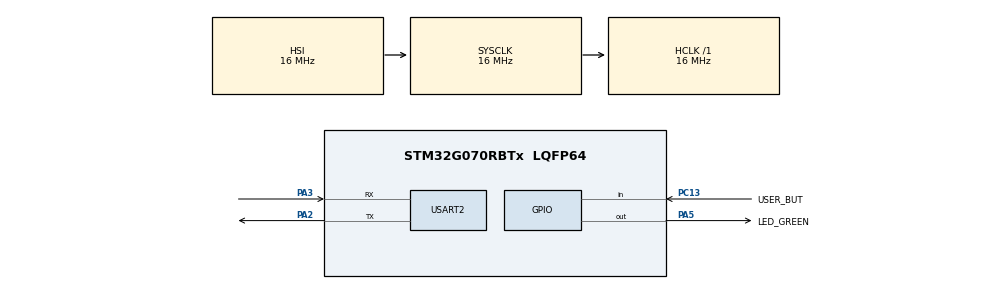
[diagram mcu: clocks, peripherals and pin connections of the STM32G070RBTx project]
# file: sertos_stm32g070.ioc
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Dma.Request0=USART2_RX
Dma.Request1=USART2_TX
Dma.USART2_RX.0.Direction=DMA_PERIPH_TO_MEMORY
Dma.USART2_RX.0.EventEnable=DISABLE
Dma.USART2_RX.0.Instance=DMA1_Channel1
Dma.USART2_RX.0.MemDataAlignment=DMA_MDATAALIGN_BYTE
Dma.USART2_RX.0.MemInc=DMA_MINC_ENABLE
Dma.USART2_RX.0.Mode=DMA_NORMAL
Dma.USART2_RX.0.PeriphDataAlignment=DMA_PDATAALIGN_BYTE
Dma.USART2_RX.0.PeriphInc=DMA_PINC_DISABLE
Dma.USART2_RX.0.Polarity=HAL_DMAMUX_REQ_GEN_RISING
Dma.USART2_RX.0.Priority=DMA_PRIORITY_LOW
Dma.USART2_RX.0.RequestNumber=1
Dma.USART2_RX.0.SignalID=NONE
Dma.USART2_RX.0.SyncEnable=DISABLE
Dma.USART2_RX.0.SyncPolarity=HAL_DMAMUX_SYNC_NO_EVENT
Dma.USART2_RX.0.SyncRequestNumber=1
Dma.USART2_RX.0.SyncSignalID=NONE
Dma.USART2_TX.1.Direction=DMA_MEMORY_TO_PERIPH
Dma.USART2_TX.1.EventEnable=DISABLE
Dma.USART2_TX.1.Instance=DMA1_Channel2
Dma.USART2_TX.1.MemDataAlignment=DMA_MDATAALIGN_BYTE
Dma.USART2_TX.1.MemInc=DMA_MINC_ENABLE
Dma.USART2_TX.1.Mode=DMA_NORMAL
Dma.USART2_TX.1.PeriphDataAlignment=DMA_PDATAALIGN_BYTE
Dma.USART2_TX.1.PeriphInc=DMA_PINC_DISABLE
Dma.USART2_TX.1.Polarity=HAL_DMAMUX_REQ_GEN_RISING
Dma.USART2_TX.1.Priority=DMA_PRIORITY_LOW
Dma.USART2_TX.1.RequestNumber=1
Dma.USART2_TX.1.SignalID=NONE
Dma.USART2_TX.1.SyncEnable=DISABLE
Dma.USART2_TX.1.SyncPolarity=HAL_DMAMUX_SYNC_NO_EVENT
Dma.USART2_TX.1.SyncRequestNumber=1
Dma.USART2_TX.1.SyncSignalID=NONE
Mcu.Family=STM32G0
Mcu.Name=STM32G070RBTx
Mcu.Package=LQFP64
NVIC.DMA1_Channel1_IRQn=true\:0\:0\:false\:false\:true\:false\:true\:true
NVIC.DMA1_Channel2_3_IRQn=true\:0\:0\:false\:false\:true\:false\:true\:true
NVIC.TIM6_IRQn=true\:3\:0\:true\:false\:true\:false\:true\:true
NVIC.TimeBase=TIM6_IRQn
NVIC.TimeBaseIP=TIM6
NVIC.USART2_IRQn=true\:0\:0\:false\:false\:true\:true\:true\:true
PA13.GPIO_Label=TMS
PA13.Signal=SYS_SWDIO
PA14-BOOT0.GPIO_Label=TCK
PA14-BOOT0.Signal=SYS_SWCLK
PA2.Mode=Asynchronous
PA2.Signal=USART2_TX
PA3.Mode=Asynchronous
PA3.Signal=USART2_RX
PA5.GPIO_Label=LED_GREEN
PA5.GPIO_Speed=GPIO_SPEED_FREQ_HIGH
PA5.Signal=GPIO_Output
PC13.GPIO_Label=USER_BUT
PC13.Signal=GPIO_Input
PC14-OSC32_IN\ (PC14).Signal=RCC_OSC32_IN
PC15-OSC32_OUT\ (PC15).Signal=RCC_OSC32_OUT
PF0-OSC_IN\ (PF0).GPIO_Label=MCO
PF0-OSC_IN\ (PF0).Signal=RCC_OSC_IN
ProjectManager.HeapSize=0x200
ProjectManager.StackSize=0x400
ProjectManager.TargetToolchain=CMake
RCC.AHBFreq_Value=16000000
RCC.CortexFreq_Value=16000000
RCC.EXTERNAL_CLOCK_VALUE=12288000
RCC.HCLKFreq_Value=16000000
RCC.HSE_VALUE=8000000
RCC.HSI_VALUE=16000000
RCC.LSE_VALUE=32768
RCC.SYSCLKFreq_VALUE=16000000
RCC.VCOOutputFreq_Value=128000000
TIM1.TIM_MasterOutputTrigger=TIM_TRGO_UPDATE
TIM1.TIM_MasterSlaveMode=TIM_MASTERSLAVEMODE_DISABLE
TIM3.TIM_MasterSlaveMode=TIM_MASTERSLAVEMODE_DISABLE
USART2.VirtualMode-Asynchronous=VM_ASYNC
VP_SYS_VS_tim6.Mode=TIM6
VP_TIM1_VS_ClockSourceINT.Mode=Internal
VP_TIM3_VS_ClockSourceITR.Mode=TriggerSource_ITR0
VP_TIM3_VS_ControllerModeClock.Mode=Clock Mode
board=NUCLEO-G070RB

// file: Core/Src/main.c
/* USER CODE BEGIN Header */
/**
  ******************************************************************************
  * @file           : main.c
  * @brief          : Main program body
  ******************************************************************************
  * @attention
  *
  * Copyright (c) 2026 STMicroelectronics.
  * All rights reserved.
  *
  * This software is licensed under terms that can be found in the LICENSE file
  * in the root directory of this software component.
  * If no LICENSE file comes with this software, it is provided AS-IS.
  *
  ******************************************************************************
  */
/* USER CODE END Header */
#include "main.h"
#include "dma.h"
#include "tim.h"
#include "usart.h"
#include "gpio.h"

/* USER CODE BEGIN Includes */
#include <stdint.h>

#include "sertos.h"
#include "sertos_demo_queue.h"
#include "sertos_task_consumer.h"
#include "sertos_task_profiler.h"
#include "sertos_task_producer.h"
#include "profiler.h"
#include "profiler_port.h"
#include "profiler_context_sertos.h"
/* USER CODE END Includes */

/* USER CODE BEGIN PD */
#if defined(SERTOS_APP_INSTRUMENTED) || defined(PROFILER_SCOPES_ENABLED)
#define SERTOS_DEMO_STACK_BYTES (1024U)
#else
#define SERTOS_DEMO_STACK_BYTES (256U)
#endif
#define SERTOS_PROF_STACK_BYTES (2048U)
/* USER CODE END PD */

/* USER CODE BEGIN PV */
static uint8_t s_producer_stack[SERTOS_DEMO_STACK_BYTES]
    __attribute__((aligned(SERTOS_STACK_ALIGNMENT_BYTES)));
static uint8_t s_consumer_stack[SERTOS_DEMO_STACK_BYTES]
    __attribute__((aligned(SERTOS_STACK_ALIGNMENT_BYTES)));
static uint8_t s_profiler_stack[SERTOS_PROF_STACK_BYTES]
    __attribute__((aligned(SERTOS_STACK_ALIGNMENT_BYTES)));
static uint8_t s_idle_task_stack[SERTOS_CONFIG_IDLE_TASK_STACK_SIZE]
    __attribute__((aligned(SERTOS_STACK_ALIGNMENT_BYTES)));
static SertosTaskControlBlock s_producer_tcb;
static SertosTaskControlBlock s_consumer_tcb;
static SertosTaskControlBlock s_profiler_tcb;
static SertosTaskHandle s_producer_handle;
static SertosTaskHandle s_consumer_handle;
static SertosTaskHandle s_profiler_handle;
static SertosDemoQueue* s_demo_queue;
/* USER CODE END PV */

void SystemClock_Config(void);

int main(void)
{

  /* MCU Configuration--------------------------------------------------------*/

  /* Reset of all peripherals, Initializes the Flash interface and the Systick. */
  HAL_Init();

  /* Configure the system clock */
  SystemClock_Config();

  /* Initialize all configured peripherals */
  MX_GPIO_Init();
  MX_DMA_Init();
  MX_USART2_UART_Init();
  MX_TIM1_Init();
  MX_TIM3_Init();
  /* USER CODE BEGIN 2 */
    SertosStatus status;
    SertosTaskConfig producer_config;
    SertosTaskConfig consumer_config;
    SertosTaskConfig profiler_config;

    SertosConfig sertos_cfg = {
        .tick_rate_hz = 1000U,
        .enable_time_slicing = true,
        .idle_task_stack = s_idle_task_stack,
        .idle_task_stack_size = sizeof(s_idle_task_stack),
        .tick_hook = NULL,
        .idle_hook = NULL,
        .switch_hook = profiler_context_sertos_switch_hook
    };

    sertos_task_profiler_init();

    PROFILER_SCOPE(sertos_scheduler_init_with_config,
                   status = sertos_scheduler_init_with_config(&sertos_cfg));
    if (status != SERTOS_STATUS_OK) {
        Error_Handler();
        return 0;
    }

    PROFILER_SCOPE(sertos_demo_queue_init, status = sertos_demo_queue_init(&s_demo_queue));
    if (status != SERTOS_STATUS_OK) {
        Error_Handler();
        return 0;
    }

    producer_config.name = "sertos_task_producer";
    producer_config.entry_func = sertos_task_producer;
    producer_config.param = s_demo_queue;
    producer_config.priority = 3U;
    producer_config.stack_buffer = s_producer_stack;
    producer_config.stack_size = sizeof(s_producer_stack);

    PROFILER_SCOPE(sertos_task_create_static,
                   status = sertos_task_create_static(&producer_config,
                                                      &s_producer_tcb,
                                                      &s_producer_handle));
    if (status != SERTOS_STATUS_OK) {
        Error_Handler();
        return 0;
    }

    consumer_config.name = "sertos_task_consumer";
    consumer_config.entry_func = sertos_task_consumer;
    consumer_config.param = s_demo_queue;
    consumer_config.priority = 2U;
    consumer_config.stack_buffer = s_consumer_stack;
    consumer_config.stack_size = sizeof(s_consumer_stack);

    PROFILER_SCOPE(sertos_task_create_static,
                   status = sertos_task_create_static(&consumer_config,
                                                      &s_consumer_tcb,
                                                      &s_consumer_handle));
    if (status != SERTOS_STATUS_OK) {
        Error_Handler();
        return 0;
    }

    profiler_config.name = "sertos_task_profiler";
    profiler_config.entry_func = sertos_task_profiler;
    profiler_config.param = NULL;
    profiler_config.priority = 1U;
    profiler_config.stack_buffer = s_profiler_stack;
    profiler_config.stack_size = sizeof(s_profiler_stack);

    PROFILER_SCOPE(sertos_task_create_static,
                   status = sertos_task_create_static(&profiler_config,
                                                      &s_profiler_tcb,
                                                      &s_profiler_handle));
    if (status != SERTOS_STATUS_OK) {
        Error_Handler();
        return 0;
    }

    sertos_scheduler_start();
  /* USER CODE END 2 */

  /* Infinite loop */
  while (1)
  {

  }
}

void SystemClock_Config(void)
{
  RCC_OscInitTypeDef RCC_OscInitStruct = {0};
  RCC_ClkInitTypeDef RCC_ClkInitStruct = {0};

  /** Configure the main internal regulator output voltage
  */
  HAL_PWREx_ControlVoltageScaling(PWR_REGULATOR_VOLTAGE_SCALE1);

  /** Initializes the RCC Oscillators according to the specified parameters
  * in the RCC_OscInitTypeDef structure.
  */
  RCC_OscInitStruct.OscillatorType = RCC_OSCILLATORTYPE_HSI;
  RCC_OscInitStruct.HSIState = RCC_HSI_ON;
  RCC_OscInitStruct.HSIDiv = RCC_HSI_DIV1;
  RCC_OscInitStruct.HSICalibrationValue = RCC_HSICALIBRATION_DEFAULT;
  RCC_OscInitStruct.PLL.PLLState = RCC_PLL_NONE;
  if (HAL_RCC_OscConfig(&RCC_OscInitStruct) != HAL_OK)
  {
    Error_Handler();
  }

  /** Initializes the CPU, AHB and APB buses clocks
  */
  RCC_ClkInitStruct.ClockType = RCC_CLOCKTYPE_HCLK|RCC_CLOCKTYPE_SYSCLK
                              |RCC_CLOCKTYPE_PCLK1;
  RCC_ClkInitStruct.SYSCLKSource = RCC_SYSCLKSOURCE_HSI;
  RCC_ClkInitStruct.AHBCLKDivider = RCC_SYSCLK_DIV1;
  RCC_ClkInitStruct.APB1CLKDivider = RCC_HCLK_DIV1;

  if (HAL_RCC_ClockConfig(&RCC_ClkInitStruct, FLASH_LATENCY_0) != HAL_OK)
  {
    Error_Handler();
  }
}

void HAL_TIM_PeriodElapsedCallback(TIM_HandleTypeDef *htim)
{
  if (htim->Instance == TIM6)
  {
    HAL_IncTick();
  }
  else if (htim->Instance == TIM1)
  {
    profiler_port_16bit_it_overflow_isr();
  }
}

void Error_Handler(void)
{
  __disable_irq();
  while (1)
  {
  }
}
